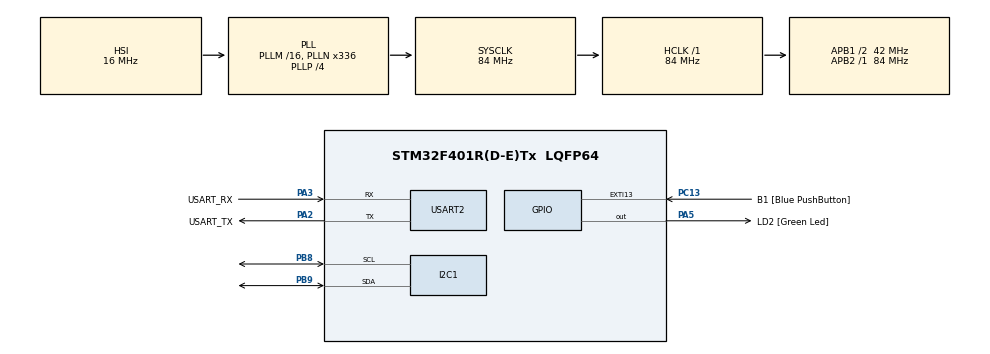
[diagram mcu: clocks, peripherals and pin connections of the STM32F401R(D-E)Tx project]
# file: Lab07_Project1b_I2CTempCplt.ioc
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I2C1.I2C_Mode=I2C_Standard
Mcu.Family=STM32F4
Mcu.Name=STM32F401R(D-E)Tx
Mcu.Package=LQFP64
NVIC.PriorityGroup=NVIC_PRIORITYGROUP_0
NVIC.RCC_IRQn=true\:0\:0\:false\:false\:true\:true\:false\:true
NVIC.TIM3_IRQn=true\:0\:0\:false\:false\:true\:true\:true\:true
PA13.GPIO_Label=TMS
PA13.Mode=Serial_Wire
PA13.Signal=SYS_JTMS-SWDIO
PA14.GPIO_Label=TCK
PA14.Mode=Serial_Wire
PA14.Signal=SYS_JTCK-SWCLK
PA2.GPIO_Label=USART_TX
PA2.GPIO_Mode=GPIO_MODE_AF_PP
PA2.GPIO_PuPd=GPIO_NOPULL
PA2.GPIO_Speed=GPIO_SPEED_FREQ_LOW
PA2.Mode=Asynchronous
PA2.Signal=USART2_TX
PA3.GPIO_Label=USART_RX
PA3.GPIO_Mode=GPIO_MODE_AF_PP
PA3.GPIO_PuPd=GPIO_NOPULL
PA3.GPIO_Speed=GPIO_SPEED_FREQ_LOW
PA3.Mode=Asynchronous
PA3.Signal=USART2_RX
PA5.GPIO_Label=LD2 [Green Led]
PA5.GPIO_Mode=GPIO_MODE_OUTPUT_PP
PA5.GPIO_PuPd=GPIO_NOPULL
PA5.GPIO_Speed=GPIO_SPEED_FREQ_LOW
PA5.Signal=GPIO_Output
PB3.GPIO_Label=SWO
PB3.Signal=SYS_JTDO-SWO
PB8.Mode=I2C
PB8.Signal=I2C1_SCL
PB9.Mode=I2C
PB9.Signal=I2C1_SDA
PC13-ANTI_TAMP.GPIO_Label=B1 [Blue PushButton]
PC13-ANTI_TAMP.GPIO_ModeDefaultEXTI=GPIO_MODE_IT_FALLING
PC13-ANTI_TAMP.GPIO_PuPd=GPIO_NOPULL
PC13-ANTI_TAMP.Signal=GPXTI13
PC14-OSC32_IN.Mode=LSE-External-Oscillator
PC14-OSC32_IN.Signal=RCC_OSC32_IN
PC15-OSC32_OUT.Mode=LSE-External-Oscillator
PC15-OSC32_OUT.Signal=RCC_OSC32_OUT
PH0\ -\ OSC_IN.Mode=HSE-External-Clock-Source
PH0\ -\ OSC_IN.Signal=RCC_OSC_IN
PH1\ -\ OSC_OUT.Mode=HSE-External-Clock-Source
PH1\ -\ OSC_OUT.Signal=RCC_OSC_OUT
ProjectManager.HeapSize=0x200
ProjectManager.StackSize=0x400
ProjectManager.TargetToolchain=STM32CubeIDE
RCC.48MHZClocksFreq_Value=48000000
RCC.AHBFreq_Value=84000000
RCC.APB1CLKDivider=RCC_HCLK_DIV2
RCC.APB1Freq_Value=42000000
RCC.APB1TimFreq_Value=84000000
RCC.APB2Freq_Value=84000000
RCC.APB2TimFreq_Value=84000000
RCC.CortexFreq_Value=84000000
RCC.HCLKFreq_Value=84000000
RCC.HSE_VALUE=8000000
RCC.HSI_VALUE=16000000
RCC.PLLN=336
RCC.PLLP=RCC_PLLP_DIV4
RCC.PLLQ=7
RCC.SYSCLKFreq_VALUE=84000000
RCC.SYSCLKSource=RCC_SYSCLKSOURCE_PLLCLK
RCC.VCOOutputFreq_Value=336000000
TIM3.Period=10000-1
TIM3.Prescaler=8400-1
USART2.VirtualMode=VM_ASYNC
VP_TIM3_VS_ClockSourceINT.Mode=Internal
board=NUCLEO-F401RE

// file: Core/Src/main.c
/* USER CODE BEGIN Header */
/**
  ******************************************************************************
  * @file           : main.c
  * @brief          : Main program body
  ******************************************************************************
  * @attention
  *
  * Copyright (c) 2023 STMicroelectronics.
  * All rights reserved.
  *
  * This software is licensed under terms that can be found in the LICENSE file
  * in the root directory of this software component.
  * If no LICENSE file comes with this software, it is provided AS-IS.
  *
  ******************************************************************************
  */
/* USER CODE END Header */
#include "main.h"

/* USER CODE BEGIN Includes */
#include "stdio.h"
#include "string.h"
/* USER CODE END Includes */

/* USER CODE BEGIN PD */
#define DATA_SIZE 2
/* USER CODE END PD */

I2C_HandleTypeDef hi2c1;

TIM_HandleTypeDef htim3;

UART_HandleTypeDef huart2;

/* USER CODE BEGIN PV */
char string[64];
int length;

uint16_t ThermAddress = 0b10010000;
uint8_t ThermDataAddr = 0x00;
uint32_t Timeout = 10;
uint8_t ThermBuffer[DATA_SIZE] = {0, 0};
uint8_t MSB = 0;
uint8_t LSB = 0;
// uint8_t MSB_old = 0;
// uint8_t LSB_old = 0;
uint8_t MSB_new = 0;
uint16_t TempBits = 0;
float temperature;
// float temperature_old;
/* USER CODE END PV */

void SystemClock_Config(void);
static void MX_GPIO_Init(void);
static void MX_USART2_UART_Init(void);
static void MX_I2C1_Init(void);
static void MX_TIM3_Init(void);

int main(void)
{

  /* MCU Configuration--------------------------------------------------------*/

  /* Reset of all peripherals, Initializes the Flash interface and the Systick. */
  HAL_Init();

  /* Configure the system clock */
  SystemClock_Config();

  /* Initialize all configured peripherals */
  MX_GPIO_Init();
  MX_USART2_UART_Init();
  MX_I2C1_Init();
  MX_TIM3_Init();
  /* USER CODE BEGIN 2 */
  HAL_I2C_Master_Transmit(&hi2c1, ThermAddress, &ThermDataAddr, DATA_SIZE, Timeout);
  HAL_TIM_Base_Start_IT(&htim3);

  /* USER CODE END 2 */

  /* Infinite loop */
  /* USER CODE BEGIN WHILE */
  while (1)
  {

	  // HAL_Delay(1000);
    /* USER CODE END WHILE */

  }
}

void SystemClock_Config(void)
{
  RCC_OscInitTypeDef RCC_OscInitStruct = {0};
  RCC_ClkInitTypeDef RCC_ClkInitStruct = {0};

  /** Configure the main internal regulator output voltage
  */
  __HAL_RCC_PWR_CLK_ENABLE();
  __HAL_PWR_VOLTAGESCALING_CONFIG(PWR_REGULATOR_VOLTAGE_SCALE2);

  /** Initializes the RCC Oscillators according to the specified parameters
  * in the RCC_OscInitTypeDef structure.
  */
  RCC_OscInitStruct.OscillatorType = RCC_OSCILLATORTYPE_HSI;
  RCC_OscInitStruct.HSIState = RCC_HSI_ON;
  RCC_OscInitStruct.HSICalibrationValue = RCC_HSICALIBRATION_DEFAULT;
  RCC_OscInitStruct.PLL.PLLState = RCC_PLL_ON;
  RCC_OscInitStruct.PLL.PLLSource = RCC_PLLSOURCE_HSI;
  RCC_OscInitStruct.PLL.PLLM = 16;
  RCC_OscInitStruct.PLL.PLLN = 336;
  RCC_OscInitStruct.PLL.PLLP = RCC_PLLP_DIV4;
  RCC_OscInitStruct.PLL.PLLQ = 7;
  if (HAL_RCC_OscConfig(&RCC_OscInitStruct) != HAL_OK)
  {
    Error_Handler();
  }

  /** Initializes the CPU, AHB and APB buses clocks
  */
  RCC_ClkInitStruct.ClockType = RCC_CLOCKTYPE_HCLK|RCC_CLOCKTYPE_SYSCLK
                              |RCC_CLOCKTYPE_PCLK1|RCC_CLOCKTYPE_PCLK2;
  RCC_ClkInitStruct.SYSCLKSource = RCC_SYSCLKSOURCE_PLLCLK;
  RCC_ClkInitStruct.AHBCLKDivider = RCC_SYSCLK_DIV1;
  RCC_ClkInitStruct.APB1CLKDivider = RCC_HCLK_DIV2;
  RCC_ClkInitStruct.APB2CLKDivider = RCC_HCLK_DIV1;

  if (HAL_RCC_ClockConfig(&RCC_ClkInitStruct, FLASH_LATENCY_2) != HAL_OK)
  {
    Error_Handler();
  }
}

static void MX_I2C1_Init(void)
{

  hi2c1.Instance = I2C1;
  hi2c1.Init.ClockSpeed = 100000;
  hi2c1.Init.DutyCycle = I2C_DUTYCYCLE_2;
  hi2c1.Init.OwnAddress1 = 0;
  hi2c1.Init.AddressingMode = I2C_ADDRESSINGMODE_7BIT;
  hi2c1.Init.DualAddressMode = I2C_DUALADDRESS_DISABLE;
  hi2c1.Init.OwnAddress2 = 0;
  hi2c1.Init.GeneralCallMode = I2C_GENERALCALL_DISABLE;
  hi2c1.Init.NoStretchMode = I2C_NOSTRETCH_DISABLE;
  if (HAL_I2C_Init(&hi2c1) != HAL_OK)
  {
    Error_Handler();
  }

}

static void MX_TIM3_Init(void)
{

  TIM_ClockConfigTypeDef sClockSourceConfig = {0};
  TIM_MasterConfigTypeDef sMasterConfig = {0};

  htim3.Instance = TIM3;
  htim3.Init.Prescaler = 8400-1;
  htim3.Init.CounterMode = TIM_COUNTERMODE_UP;
  htim3.Init.Period = 10000-1;
  htim3.Init.ClockDivision = TIM_CLOCKDIVISION_DIV1;
  htim3.Init.AutoReloadPreload = TIM_AUTORELOAD_PRELOAD_DISABLE;
  if (HAL_TIM_Base_Init(&htim3) != HAL_OK)
  {
    Error_Handler();
  }
  sClockSourceConfig.ClockSource = TIM_CLOCKSOURCE_INTERNAL;
  if (HAL_TIM_ConfigClockSource(&htim3, &sClockSourceConfig) != HAL_OK)
  {
    Error_Handler();
  }
  sMasterConfig.MasterOutputTrigger = TIM_TRGO_RESET;
  sMasterConfig.MasterSlaveMode = TIM_MASTERSLAVEMODE_DISABLE;
  if (HAL_TIMEx_MasterConfigSynchronization(&htim3, &sMasterConfig) != HAL_OK)
  {
    Error_Handler();
  }

}

static void MX_USART2_UART_Init(void)
{

  huart2.Instance = USART2;
  huart2.Init.BaudRate = 115200;
  huart2.Init.WordLength = UART_WORDLENGTH_8B;
  huart2.Init.StopBits = UART_STOPBITS_1;
  huart2.Init.Parity = UART_PARITY_NONE;
  huart2.Init.Mode = UART_MODE_TX_RX;
  huart2.Init.HwFlowCtl = UART_HWCONTROL_NONE;
  huart2.Init.OverSampling = UART_OVERSAMPLING_16;
  if (HAL_UART_Init(&huart2) != HAL_OK)
  {
    Error_Handler();
  }

}

static void MX_GPIO_Init(void)
{
  GPIO_InitTypeDef GPIO_InitStruct = {0};

  /* GPIO Ports Clock Enable */
  __HAL_RCC_GPIOC_CLK_ENABLE();
  __HAL_RCC_GPIOH_CLK_ENABLE();
  __HAL_RCC_GPIOA_CLK_ENABLE();
  __HAL_RCC_GPIOB_CLK_ENABLE();

  /*Configure GPIO pin Output Level */
  HAL_GPIO_WritePin(LD2_GPIO_Port, LD2_Pin, GPIO_PIN_RESET);

  /*Configure GPIO pin : B1_Pin */
  GPIO_InitStruct.Pin = B1_Pin;
  GPIO_InitStruct.Mode = GPIO_MODE_IT_FALLING;
  GPIO_InitStruct.Pull = GPIO_NOPULL;
  HAL_GPIO_Init(B1_GPIO_Port, &GPIO_InitStruct);

  /*Configure GPIO pin : LD2_Pin */
  GPIO_InitStruct.Pin = LD2_Pin;
  GPIO_InitStruct.Mode = GPIO_MODE_OUTPUT_PP;
  GPIO_InitStruct.Pull = GPIO_NOPULL;
  GPIO_InitStruct.Speed = GPIO_SPEED_FREQ_LOW;
  HAL_GPIO_Init(LD2_GPIO_Port, &GPIO_InitStruct);

}

/* USER CODE BEGIN 4 */
void HAL_TIM_PeriodElapsedCallback(TIM_HandleTypeDef *htim){
	if(htim == &htim3){
		if(HAL_I2C_Master_Receive(&hi2c1, ThermAddress+1, ThermBuffer, DATA_SIZE, Timeout) == HAL_OK){
			// MSB_old = MSB;
			// LSB_old = LSB;
			// temperature_old = temperature;
			MSB = ThermBuffer[0];
			LSB = ThermBuffer[1];
			// length = snprintf(string, sizeof(string),"MSB: 0x%02X LSB: 0x%02X\r\n", MSB, LSB);
			// HAL_UART_Transmit(&huart2, string, length, Timeout);

			// Solve the temperature change bug
			if(HAL_I2C_Master_Receive(&hi2c1, ThermAddress+1, &MSB_new, 1, Timeout) == HAL_OK){
				if (MSB_new != MSB){
					MSB = MSB_new;
				}
			} else {
				length = snprintf(string, sizeof(string), "Error in data reading!\r\n");
			}

			// Store the temperature data bits
			TempBits = ((MSB << 3) | (LSB >> 5));

			if (MSB & 0x80){
				// Invert the value of the bits and add one to obtain the right conversion
				TempBits = (TempBits ^ 0xFFF) + 1;
				temperature = - TempBits * 0.125;
			} else {
				// Convert the values as specified in the datasheet
				temperature = TempBits * 0.125;
			}

			length = snprintf(string, sizeof(string), "Temperature: %.3f C\r\n", temperature);
		} else {
			length = snprintf(string, sizeof(string), "Error in data reading!\r\n");
		}
		HAL_UART_Transmit(&huart2, string, length, Timeout);
	}
}
/* USER CODE END 4 */

void Error_Handler(void)
{
  __disable_irq();
  while (1)
  {
  }
}
